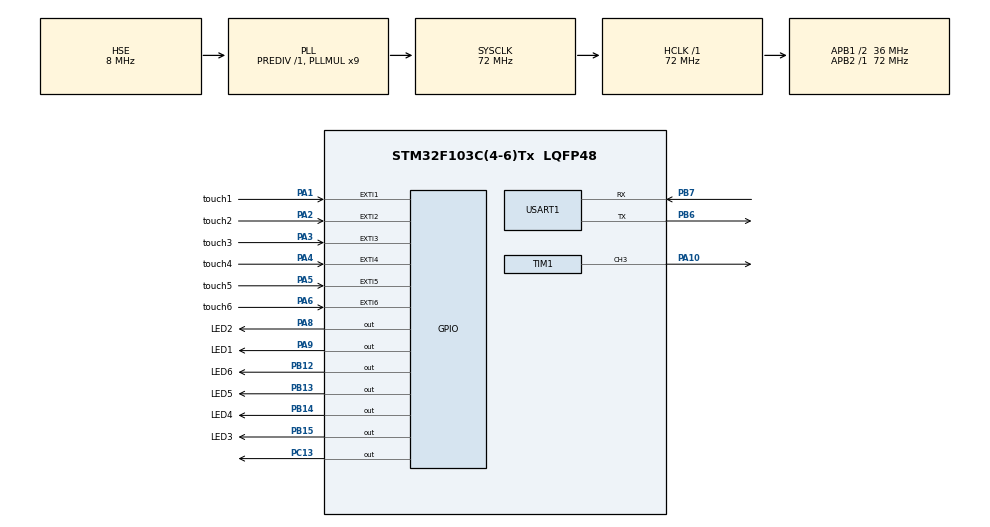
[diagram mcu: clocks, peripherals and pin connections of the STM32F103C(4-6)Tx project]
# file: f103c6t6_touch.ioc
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Dma.Request0=TIM1_CH3
Dma.TIM1_CH3.0.Direction=DMA_MEMORY_TO_PERIPH
Dma.TIM1_CH3.0.Instance=DMA1_Channel6
Dma.TIM1_CH3.0.MemDataAlignment=DMA_MDATAALIGN_HALFWORD
Dma.TIM1_CH3.0.MemInc=DMA_MINC_ENABLE
Dma.TIM1_CH3.0.Mode=DMA_CIRCULAR
Dma.TIM1_CH3.0.PeriphDataAlignment=DMA_PDATAALIGN_HALFWORD
Dma.TIM1_CH3.0.PeriphInc=DMA_PINC_DISABLE
Dma.TIM1_CH3.0.Priority=DMA_PRIORITY_VERY_HIGH
Mcu.Family=STM32F1
Mcu.Name=STM32F103C(4-6)Tx
Mcu.Package=LQFP48
NVIC.DMA1_Channel6_IRQn=true\:0\:0\:false\:false\:true\:false\:true\:true
NVIC.EXTI1_IRQn=true\:0\:0\:false\:false\:true\:true\:true\:true
NVIC.EXTI2_IRQn=true\:0\:0\:false\:false\:true\:true\:true\:true
NVIC.EXTI3_IRQn=true\:0\:0\:false\:false\:true\:true\:true\:true
NVIC.EXTI4_IRQn=true\:0\:0\:false\:false\:true\:true\:true\:true
NVIC.EXTI9_5_IRQn=true\:0\:0\:false\:false\:true\:true\:true\:true
NVIC.PriorityGroup=NVIC_PRIORITYGROUP_4
PA1.GPIO_Label=touch1
PA1.GPIO_ModeDefaultEXTI=GPIO_MODE_IT_RISING_FALLING
PA1.GPIO_PuPd=GPIO_PULLUP
PA1.Signal=GPXTI1
PA10.GPIO_Speed=GPIO_SPEED_FREQ_HIGH
PA10.Signal=S_TIM1_CH3
PA13.Mode=Serial_Wire
PA13.Signal=SYS_JTMS-SWDIO
PA14.Mode=Serial_Wire
PA14.Signal=SYS_JTCK-SWCLK
PA2.GPIO_Label=touch2
PA2.GPIO_ModeDefaultEXTI=GPIO_MODE_IT_RISING_FALLING
PA2.GPIO_PuPd=GPIO_PULLUP
PA2.Signal=GPXTI2
PA3.GPIO_Label=touch3
PA3.GPIO_ModeDefaultEXTI=GPIO_MODE_IT_RISING_FALLING
PA3.GPIO_PuPd=GPIO_PULLUP
PA3.Signal=GPXTI3
PA4.GPIO_Label=touch4
PA4.GPIO_ModeDefaultEXTI=GPIO_MODE_IT_RISING_FALLING
PA4.GPIO_PuPd=GPIO_PULLUP
PA4.Signal=GPXTI4
PA5.GPIO_Label=touch5
PA5.GPIO_ModeDefaultEXTI=GPIO_MODE_IT_RISING_FALLING
PA5.GPIO_PuPd=GPIO_PULLUP
PA5.Signal=GPXTI5
PA6.GPIO_Label=touch6
PA6.GPIO_ModeDefaultEXTI=GPIO_MODE_IT_RISING_FALLING
PA6.GPIO_PuPd=GPIO_PULLUP
PA6.Signal=GPXTI6
PA8.GPIO_Label=LED2
PA8.GPIO_Speed=GPIO_SPEED_FREQ_LOW
PA8.Signal=GPIO_Output
PA9.GPIO_Label=LED1
PA9.Signal=GPIO_Output
PB12.GPIO_Label=LED6
PB12.Signal=GPIO_Output
PB13.GPIO_Label=LED5
PB13.Signal=GPIO_Output
PB14.GPIO_Label=LED4
PB14.Signal=GPIO_Output
PB15.GPIO_Label=LED3
PB15.Signal=GPIO_Output
PB6.Mode=Asynchronous
PB6.Signal=USART1_TX
PB7.Mode=Asynchronous
PB7.Signal=USART1_RX
PC13-TAMPER-RTC.GPIO_ModeDefaultOutputPP=GPIO_MODE_OUTPUT_OD
PC13-TAMPER-RTC.GPIO_PuPd=GPIO_NOPULL
PC13-TAMPER-RTC.PinState=GPIO_PIN_SET
PC13-TAMPER-RTC.Signal=GPIO_Output
PD0-OSC_IN.Mode=HSE-External-Oscillator
PD0-OSC_IN.Signal=RCC_OSC_IN
PD1-OSC_OUT.Mode=HSE-External-Oscillator
PD1-OSC_OUT.Signal=RCC_OSC_OUT
ProjectManager.HeapSize=0x200
ProjectManager.StackSize=0x400
ProjectManager.TargetToolchain=STM32CubeIDE
RCC.AHBFreq_Value=72000000
RCC.APB1CLKDivider=RCC_HCLK_DIV2
RCC.APB1Freq_Value=36000000
RCC.APB1TimFreq_Value=72000000
RCC.APB2Freq_Value=72000000
RCC.APB2TimFreq_Value=72000000
RCC.HCLKFreq_Value=72000000
RCC.PLLMUL=RCC_PLL_MUL9
RCC.PLLSourceVirtual=RCC_PLLSOURCE_HSE
RCC.SYSCLKFreq_VALUE=72000000
RCC.SYSCLKSource=RCC_SYSCLKSOURCE_PLLCLK
RCC.USBFreq_Value=72000000
SH.S_TIM1_CH3.0=TIM1_CH3,PWM Generation3 CH3
TIM1.Channel-PWM\ Generation3\ CH3=TIM_CHANNEL_3
TIM3.Prescaler=0
USART1.VirtualMode=VM_ASYNC
VP_TIM3_VS_ClockSourceINT.Mode=Internal
board=custom

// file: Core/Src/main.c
/* USER CODE BEGIN Header */
/**
  ******************************************************************************
  * @file           : main.c
  * @brief          : Main program body
  ******************************************************************************
  * @attention
  *
  * Copyright (c) 2024 STMicroelectronics.
  * All rights reserved.
  *
  * This software is licensed under terms that can be found in the LICENSE file
  * in the root directory of this software component.
  * If no LICENSE file comes with this software, it is provided AS-IS.
  *
  ******************************************************************************
  */
/* USER CODE END Header */
#include "main.h"

/* USER CODE BEGIN Includes */
#include <stdio.h>
#include "tones.h"
/* USER CODE END Includes */

TIM_HandleTypeDef htim1;
TIM_HandleTypeDef htim3;
DMA_HandleTypeDef hdma_tim1_ch3;

UART_HandleTypeDef huart1;

void SystemClock_Config(void);
static void MX_GPIO_Init(void);
static void MX_DMA_Init(void);
static void MX_TIM3_Init(void);
static void MX_USART1_UART_Init(void);
static void MX_TIM1_Init(void);
/* USER CODE BEGIN PFP */
#include <stdio.h>
#include <string.h>

/* USER CODE END PFP */

/* USER CODE BEGIN 0 */
void crput(char p)
{
	//if(displayEnabled)	putCharBuff(p);

	HAL_UART_Transmit(&huart1, &p, 1, 0xffffff); // send message via UART
}

int _write(int fd, char* ptr, int len)
{
    (void)fd;
    int i = 0;
    while (ptr[i] && (i < len))
    {
    	if (ptr[i] == '\r')
    	{

    	}
    	else
    	{
    		crput(ptr[i]);
			//retarget_put_char((int)ptr[i]);
			if (ptr[i] == '\n')
			{
				//if(displayEnabled)
				//	uc1701Repaint();
				crput('\r');
				//retarget_put_char((int)'\r');
			}
    	}
        i++;
    }
    return len;
}
volatile uint16_t lastCnt = 0;
void HAL_GPIO_EXTI_Callback(uint16_t GPIO_Pin)

{
		lastCnt =TIM3->CNT;
}
//https://www.youtube.com/watch?v=AZWid4Y10H0
#define KEY_NUM  6
#define FLEN 6
struct filter
{
	 int val[FLEN];
	 int pos;
} Filter[KEY_NUM];
int apply_median_filter(int val,int chanel)
{
	int ret_val;
	Filter[chanel].val[Filter[chanel].pos] = val;
	Filter[chanel].pos= (Filter[chanel].pos+1)%FLEN;
	int minv = 0xfff;
	int maxv = 0;
	int summ = 0;
	for(int k=0;k<FLEN;k++)
	{
		int rv = Filter[chanel].val[k];
		if(maxv<rv) maxv=rv;
		if(minv>rv) minv=rv;
		summ+=rv;
	}
	summ-=maxv+minv;
	return summ/(FLEN-2);
}

/*
1 2 	2 3  	3 5
1 3 	2 4  	3 6
1 4 	2 5  	4 5
1 5 	2 6  	4 6
1 6 	3 4  	5 6
*/
/* USER CODE END 0 */

int main(void)
{

  /* MCU Configuration--------------------------------------------------------*/

  /* Reset of all peripherals, Initializes the Flash interface and the Systick. */
  HAL_Init();

  /* Configure the system clock */
  SystemClock_Config();

  /* Initialize all configured peripherals */
  MX_GPIO_Init();
  MX_DMA_Init();
  MX_TIM3_Init();
  MX_USART1_UART_Init();
  MX_TIM1_Init();
  /* USER CODE BEGIN 2 */
  printf("Program start\n");
  HAL_TIM_Base_Start(&htim3);
  tones_init(&htim1);
  int cnt = 0;
  int cntt = 0;
  uint16_t startv;
#if   KEY_NUM==5
  uint32_t setArr[KEY_NUM*2] = {touch1_Pin,touch2_Pin,touch3_Pin,touch4_Pin,touch5_Pin,touch1_Pin<<16,touch2_Pin<<16,touch3_Pin<<16,touch4_Pin<<16,touch5_Pin<<16};
  uint32_t ledsArr[KEY_NUM] = {LED1_Pin,LED2_Pin,LED3_Pin,LED4_Pin,LED5_Pin};
  uint32_t ledsArrP[KEY_NUM] = {LED1_GPIO_Port,LED2_GPIO_Port,LED3_GPIO_Port,LED4_GPIO_Port,LED5_GPIO_Port};
#else
  #if KEY_NUM==6
  uint32_t setArr[KEY_NUM*2] = {touch1_Pin,touch2_Pin,touch3_Pin,touch4_Pin,touch5_Pin,touch6_Pin,touch1_Pin<<16,touch2_Pin<<16,touch3_Pin<<16,touch4_Pin<<16,touch5_Pin<<16,touch6_Pin<<16};
  uint32_t ledsArr[KEY_NUM] = {LED1_Pin,LED2_Pin,LED3_Pin,LED4_Pin,LED5_Pin,LED6_Pin};
  uint32_t ledsArrP[KEY_NUM] = {LED1_GPIO_Port,LED2_GPIO_Port,LED3_GPIO_Port,LED4_GPIO_Port,LED5_GPIO_Port,LED6_GPIO_Port};
  #else
  uint32_t setArr[KEY_NUM*2] = {touch1_Pin,touch2_Pin,touch3_Pin,touch4_Pin,touch1_Pin<<16,touch2_Pin<<16,touch3_Pin<<16,touch4_Pin<<16};
  uint32_t ledsArr[KEY_NUM] = {LED1_Pin,LED2_Pin,LED3_Pin,LED4_Pin};
  uint32_t ledsArrP[KEY_NUM] = {LED1_GPIO_Port,LED2_GPIO_Port,LED3_GPIO_Port,LED4_GPIO_Port};
  #endif
#endif
  int d[KEY_NUM];
  float means[KEY_NUM];
  float fmeans[KEY_NUM];
  for(int k=0;k<KEY_NUM;k++)
  {
	  d[k] =0;
	  means[k] =0;
	  fmeans[k] =0;
  }

  setTone(1000,100,0);
  HAL_Delay(500);
  //play_test();
  setTone(1000,0,0);

  //HAL_Delay(1000);
  printf("cntFull =%d cntHalf =%d \n",cntFull,cntHalf);
  int notesArray[] = {NOTE_C4*4,NOTE_D4*4,NOTE_E4*4,NOTE_F4*4,NOTE_G4*4,NOTE_A4*4};
  int flagCount = 250*2;
  /* USER CODE END 2 */

  /* Infinite loop */
  while (1)
  {

    /* USER CODE BEGIN 3 */
	  //printf("cnt=%d\n",cnt++);
	  startv = TIM3->CNT;
	  touch1_GPIO_Port->BSRR= setArr[cnt];
	  HAL_Delay(1);
	  uint16_t  sample = (lastCnt-startv)&0x1ffu;
	  //sample &=0xfffu;
	  if(cnt>=KEY_NUM)
	  {
		  d[cnt-KEY_NUM] = sample;
	  }
	  else
	  {
		  int summ = apply_median_filter(sample + d[cnt],cnt);
		  means[cnt] =  means[cnt]*0.97f + summ*0.03f;
		  fmeans[cnt] = fmeans[cnt]*0.7f + summ*0.3f;
		 // if((fmeans[cnt]-means[cnt])>2.8f)
		  if((fmeans[cnt]-means[cnt])>2.6f)
		  {
			  HAL_GPIO_WritePin(ledsArrP[cnt],ledsArr[cnt],GPIO_PIN_SET);
			  if(!flagCount)
			  setTone(notesArray[cnt],100/5,cnt);
			  //printf("+pressed %d timecnt=%d %x %x %x %x %x\n",cnt,cntt++,(int)means[cnt]/2,d[cnt],sample,summ/2,(int)fmeans[cnt]/2);
		  }
		  else
		  {
			  HAL_GPIO_WritePin(ledsArrP[cnt],ledsArr[cnt],GPIO_PIN_RESET);
			  if(flagCount>0)
				  flagCount--;
			  setTone(notesArray[cnt],0,cnt);
			 // printf("-pressed %d timecnt=%d %x %x %x %x\n",cnt,cntt++,(int)means[cnt]/2,d[cnt],sample,summ/2);
		  }
	  }

	  cnt = (cnt+1)%(KEY_NUM*2);
	  /*
	  if(cnt == 0 )
	  {
		  if(d[0]+d[4])
		  printf("A1 %x %x %x %x \n",d[0]+d[4],d[1]+d[5],d[2]+d[6],d[3]+d[7]);
	  }
	  */
  }
  /* USER CODE END 3 */
}

void SystemClock_Config(void)
{
  RCC_OscInitTypeDef RCC_OscInitStruct = {0};
  RCC_ClkInitTypeDef RCC_ClkInitStruct = {0};

  /** Initializes the RCC Oscillators according to the specified parameters
  * in the RCC_OscInitTypeDef structure.
  */
  RCC_OscInitStruct.OscillatorType = RCC_OSCILLATORTYPE_HSE;
  RCC_OscInitStruct.HSEState = RCC_HSE_ON;
  RCC_OscInitStruct.HSEPredivValue = RCC_HSE_PREDIV_DIV1;
  RCC_OscInitStruct.HSIState = RCC_HSI_ON;
  RCC_OscInitStruct.PLL.PLLState = RCC_PLL_ON;
  RCC_OscInitStruct.PLL.PLLSource = RCC_PLLSOURCE_HSE;
  RCC_OscInitStruct.PLL.PLLMUL = RCC_PLL_MUL9;
  if (HAL_RCC_OscConfig(&RCC_OscInitStruct) != HAL_OK)
  {
    Error_Handler();
  }

  /** Initializes the CPU, AHB and APB buses clocks
  */
  RCC_ClkInitStruct.ClockType = RCC_CLOCKTYPE_HCLK|RCC_CLOCKTYPE_SYSCLK
                              |RCC_CLOCKTYPE_PCLK1|RCC_CLOCKTYPE_PCLK2;
  RCC_ClkInitStruct.SYSCLKSource = RCC_SYSCLKSOURCE_PLLCLK;
  RCC_ClkInitStruct.AHBCLKDivider = RCC_SYSCLK_DIV1;
  RCC_ClkInitStruct.APB1CLKDivider = RCC_HCLK_DIV2;
  RCC_ClkInitStruct.APB2CLKDivider = RCC_HCLK_DIV1;

  if (HAL_RCC_ClockConfig(&RCC_ClkInitStruct, FLASH_LATENCY_2) != HAL_OK)
  {
    Error_Handler();
  }
}

static void MX_TIM1_Init(void)
{

  TIM_MasterConfigTypeDef sMasterConfig = {0};
  TIM_OC_InitTypeDef sConfigOC = {0};
  TIM_BreakDeadTimeConfigTypeDef sBreakDeadTimeConfig = {0};

  htim1.Instance = TIM1;
  htim1.Init.Prescaler = 0;
  htim1.Init.CounterMode = TIM_COUNTERMODE_UP;
  htim1.Init.Period = 65535;
  htim1.Init.ClockDivision = TIM_CLOCKDIVISION_DIV1;
  htim1.Init.RepetitionCounter = 0;
  htim1.Init.AutoReloadPreload = TIM_AUTORELOAD_PRELOAD_DISABLE;
  if (HAL_TIM_PWM_Init(&htim1) != HAL_OK)
  {
    Error_Handler();
  }
  sMasterConfig.MasterOutputTrigger = TIM_TRGO_RESET;
  sMasterConfig.MasterSlaveMode = TIM_MASTERSLAVEMODE_DISABLE;
  if (HAL_TIMEx_MasterConfigSynchronization(&htim1, &sMasterConfig) != HAL_OK)
  {
    Error_Handler();
  }
  sConfigOC.OCMode = TIM_OCMODE_PWM1;
  sConfigOC.Pulse = 0;
  sConfigOC.OCPolarity = TIM_OCPOLARITY_HIGH;
  sConfigOC.OCNPolarity = TIM_OCNPOLARITY_HIGH;
  sConfigOC.OCFastMode = TIM_OCFAST_DISABLE;
  sConfigOC.OCIdleState = TIM_OCIDLESTATE_RESET;
  sConfigOC.OCNIdleState = TIM_OCNIDLESTATE_RESET;
  if (HAL_TIM_PWM_ConfigChannel(&htim1, &sConfigOC, TIM_CHANNEL_3) != HAL_OK)
  {
    Error_Handler();
  }
  sBreakDeadTimeConfig.OffStateRunMode = TIM_OSSR_DISABLE;
  sBreakDeadTimeConfig.OffStateIDLEMode = TIM_OSSI_DISABLE;
  sBreakDeadTimeConfig.LockLevel = TIM_LOCKLEVEL_OFF;
  sBreakDeadTimeConfig.DeadTime = 0;
  sBreakDeadTimeConfig.BreakState = TIM_BREAK_DISABLE;
  sBreakDeadTimeConfig.BreakPolarity = TIM_BREAKPOLARITY_HIGH;
  sBreakDeadTimeConfig.AutomaticOutput = TIM_AUTOMATICOUTPUT_DISABLE;
  if (HAL_TIMEx_ConfigBreakDeadTime(&htim1, &sBreakDeadTimeConfig) != HAL_OK)
  {
    Error_Handler();
  }
  HAL_TIM_MspPostInit(&htim1);

}

static void MX_TIM3_Init(void)
{

  TIM_ClockConfigTypeDef sClockSourceConfig = {0};
  TIM_MasterConfigTypeDef sMasterConfig = {0};

  htim3.Instance = TIM3;
  htim3.Init.Prescaler = 0;
  htim3.Init.CounterMode = TIM_COUNTERMODE_UP;
  htim3.Init.Period = 65535;
  htim3.Init.ClockDivision = TIM_CLOCKDIVISION_DIV1;
  htim3.Init.AutoReloadPreload = TIM_AUTORELOAD_PRELOAD_DISABLE;
  if (HAL_TIM_Base_Init(&htim3) != HAL_OK)
  {
    Error_Handler();
  }
  sClockSourceConfig.ClockSource = TIM_CLOCKSOURCE_INTERNAL;
  if (HAL_TIM_ConfigClockSource(&htim3, &sClockSourceConfig) != HAL_OK)
  {
    Error_Handler();
  }
  sMasterConfig.MasterOutputTrigger = TIM_TRGO_RESET;
  sMasterConfig.MasterSlaveMode = TIM_MASTERSLAVEMODE_DISABLE;
  if (HAL_TIMEx_MasterConfigSynchronization(&htim3, &sMasterConfig) != HAL_OK)
  {
    Error_Handler();
  }

}

static void MX_USART1_UART_Init(void)
{

  huart1.Instance = USART1;
  huart1.Init.BaudRate = 115200;
  huart1.Init.WordLength = UART_WORDLENGTH_8B;
  huart1.Init.StopBits = UART_STOPBITS_1;
  huart1.Init.Parity = UART_PARITY_NONE;
  huart1.Init.Mode = UART_MODE_TX_RX;
  huart1.Init.HwFlowCtl = UART_HWCONTROL_NONE;
  huart1.Init.OverSampling = UART_OVERSAMPLING_16;
  if (HAL_UART_Init(&huart1) != HAL_OK)
  {
    Error_Handler();
  }

}

static void MX_DMA_Init(void)
{

  /* DMA controller clock enable */
  __HAL_RCC_DMA1_CLK_ENABLE();

  /* DMA interrupt init */
  /* DMA1_Channel6_IRQn interrupt configuration */
  HAL_NVIC_SetPriority(DMA1_Channel6_IRQn, 0, 0);
  HAL_NVIC_EnableIRQ(DMA1_Channel6_IRQn);

}

static void MX_GPIO_Init(void)
{
  GPIO_InitTypeDef GPIO_InitStruct = {0};

  /* GPIO Ports Clock Enable */
  __HAL_RCC_GPIOC_CLK_ENABLE();
  __HAL_RCC_GPIOD_CLK_ENABLE();
  __HAL_RCC_GPIOA_CLK_ENABLE();
  __HAL_RCC_GPIOB_CLK_ENABLE();

  /*Configure GPIO pin Output Level */
  HAL_GPIO_WritePin(GPIOC, GPIO_PIN_13, GPIO_PIN_SET);

  /*Configure GPIO pin Output Level */
  HAL_GPIO_WritePin(GPIOB, LED6_Pin|LED5_Pin|LED4_Pin|LED3_Pin, GPIO_PIN_RESET);

  /*Configure GPIO pin Output Level */
  HAL_GPIO_WritePin(GPIOA, LED2_Pin|LED1_Pin, GPIO_PIN_RESET);

  /*Configure GPIO pin : PC13 */
  GPIO_InitStruct.Pin = GPIO_PIN_13;
  GPIO_InitStruct.Mode = GPIO_MODE_OUTPUT_OD;
  GPIO_InitStruct.Pull = GPIO_NOPULL;
  GPIO_InitStruct.Speed = GPIO_SPEED_FREQ_LOW;
  HAL_GPIO_Init(GPIOC, &GPIO_InitStruct);

  /*Configure GPIO pins : touch1_Pin touch2_Pin touch3_Pin touch4_Pin
                           touch5_Pin touch6_Pin */
  GPIO_InitStruct.Pin = touch1_Pin|touch2_Pin|touch3_Pin|touch4_Pin
                          |touch5_Pin|touch6_Pin;
  GPIO_InitStruct.Mode = GPIO_MODE_IT_RISING_FALLING;
  GPIO_InitStruct.Pull = GPIO_PULLUP;
  HAL_GPIO_Init(GPIOA, &GPIO_InitStruct);

  /*Configure GPIO pins : LED6_Pin LED5_Pin LED4_Pin LED3_Pin */
  GPIO_InitStruct.Pin = LED6_Pin|LED5_Pin|LED4_Pin|LED3_Pin;
  GPIO_InitStruct.Mode = GPIO_MODE_OUTPUT_PP;
  GPIO_InitStruct.Pull = GPIO_NOPULL;
  GPIO_InitStruct.Speed = GPIO_SPEED_FREQ_LOW;
  HAL_GPIO_Init(GPIOB, &GPIO_InitStruct);

  /*Configure GPIO pins : LED2_Pin LED1_Pin */
  GPIO_InitStruct.Pin = LED2_Pin|LED1_Pin;
  GPIO_InitStruct.Mode = GPIO_MODE_OUTPUT_PP;
  GPIO_InitStruct.Pull = GPIO_NOPULL;
  GPIO_InitStruct.Speed = GPIO_SPEED_FREQ_LOW;
  HAL_GPIO_Init(GPIOA, &GPIO_InitStruct);

  /* EXTI interrupt init*/
  HAL_NVIC_SetPriority(EXTI1_IRQn, 0, 0);
  HAL_NVIC_EnableIRQ(EXTI1_IRQn);

  HAL_NVIC_SetPriority(EXTI2_IRQn, 0, 0);
  HAL_NVIC_EnableIRQ(EXTI2_IRQn);

  HAL_NVIC_SetPriority(EXTI3_IRQn, 0, 0);
  HAL_NVIC_EnableIRQ(EXTI3_IRQn);

  HAL_NVIC_SetPriority(EXTI4_IRQn, 0, 0);
  HAL_NVIC_EnableIRQ(EXTI4_IRQn);

  HAL_NVIC_SetPriority(EXTI9_5_IRQn, 0, 0);
  HAL_NVIC_EnableIRQ(EXTI9_5_IRQn);

}

void Error_Handler(void)
{
  __disable_irq();
  while (1)
  {
  }
}
